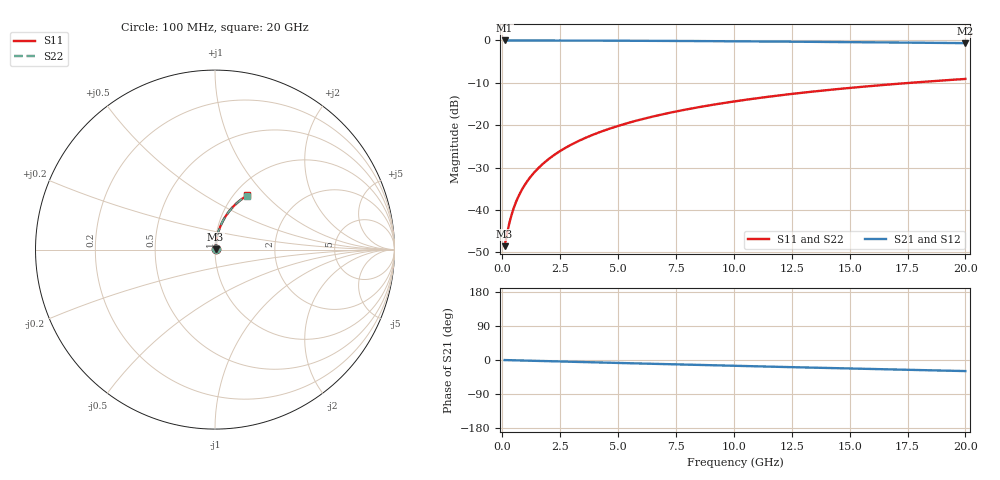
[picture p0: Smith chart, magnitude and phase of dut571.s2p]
! Touchstone file exported from HFSS 2026.1.0
!  File:  C:/ffzhzh/LocalFiles/Ansys_Project_Files/temp_train_BSMRDL_571_1783015505_4048.aedt
!  Generated:  02:06:30 AM Jul  3, 2026
!  Design:  BSMRDL
!  Project:  temp_train_BSMRDL_571_1783015505_4048
! Variables:
!  h_bsmrdl = 3.49um
!  h_ox = 20um
!  h_rdl = 5um
!  h_sub = 80um
!  h_tmrdl = 5um
!  h_tsv = 80um
!  h_via = 3um
!  l_bsmrdl = 347.27um
!  l_sub = 747.27um
!  l_tmrdl = 200um
!  m_sub = 200um
!  pitch = 45.56um
!  r_tsv = 6um
!  s_tmrdl = 10um
!  w_bsmrdl = 11.63um
!  w_sub = 500um
!  w_tmrdl = 12um
!  x_tsv_center1 = 206um
!  x_tsv_center2 = 564.9um
!  x_tsv_center3 = 776.9um
!  x_tsv_center4 = 1135.8um
!  x_tsv_center5 = 1347.8um
!  x_tsv_center6 = 1706.7um
# GHz S MA R 50.000000
! Terminal data exported
! Port[1] = BSM_RDL1_1_T1
! Port[2] = BSM_RDL1_1_T2
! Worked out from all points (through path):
!   200 points, 100 MHz to 20 GHz, reference 50 ohm
!   highest |S21| = -0.03 dB at 100 MHz (marker M1); lowest = -0.7 dB at 20 GHz (marker M2)
!   group delay of S21, straight-line fit = 4.06 ps
!   lowest |S11| = -48.5 dB at 100 MHz (marker M3), VSWR 1.01, Z = 50.3 + j0.206 ohm
!   |S11| at or under -10 dB: start of sweep to 17.65 GHz
!   |S22| runs from -48.5 to -9.1 dB; largest |S21 - S12| = 2.1e-15
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0.1  0.003751 33.1  0.9969 -0.2  0.9969 -0.2  0.003751 33.1
! Gamma 0 0 0 0
! Port Impedance 50 0 50 0
0.2  0.005188 52.0  0.9968 -0.3  0.9968 -0.3  0.005188 52.0
0.3  0.00693 61.8  0.9968 -0.5  0.9968 -0.5  0.00693 61.8
0.4  0.008783 67.5  0.9967 -0.6  0.9967 -0.6  0.008783 67.5
0.5  0.01068 71.1  0.9966 -0.8  0.9966 -0.8  0.01068 71.0
0.6  0.0126 73.5  0.9965 -1.0  0.9965 -1.0  0.0126 73.5
0.8  0.01645 76.6  0.9964 -1.3  0.9964 -1.3  0.01646 76.6
1.1  0.02228 79.1  0.9962 -1.7  0.9962 -1.7  0.02228 79.1
1.5  0.03008 80.6  0.9959 -2.4  0.9959 -2.4  0.03008 80.6
1.8  0.03594 81.2  0.9956 -2.8  0.9956 -2.8  0.03594 81.2
2.1  0.04181 81.5  0.9953 -3.3  0.9953 -3.3  0.04181 81.5
2.7  0.05353 81.5  0.9946 -4.2  0.9946 -4.2  0.05353 81.5
3.5  0.06911 81.1  0.9934 -5.5  0.9934 -5.5  0.06911 81.0
4.2  0.08265 80.4  0.9921 -6.5  0.9921 -6.5  0.08265 80.4
5  0.09801 79.5  0.9904 -7.8  0.9904 -7.8  0.09801 79.4
5.9  0.1151 78.3  0.9882 -9.1  0.9882 -9.1  0.1151 78.3
6.8  0.132 77.1  0.9857 -10.5  0.9857 -10.5  0.132 77.1
8.3  0.1597 75.1  0.981 -12.8  0.981 -12.8  0.1597 75.0
10.1  0.192 72.6  0.9745 -15.4  0.9745 -15.4  0.192 72.5
13.4  0.2487 68.0  0.9605 -20.2  0.9605 -20.2  0.2487 67.9
16.7  0.3017 63.6  0.9444 -24.8  0.9444 -24.8  0.3017 63.5
20  0.3509 59.3  0.9268 -29.2  0.9268 -29.2  0.3509 59.2
